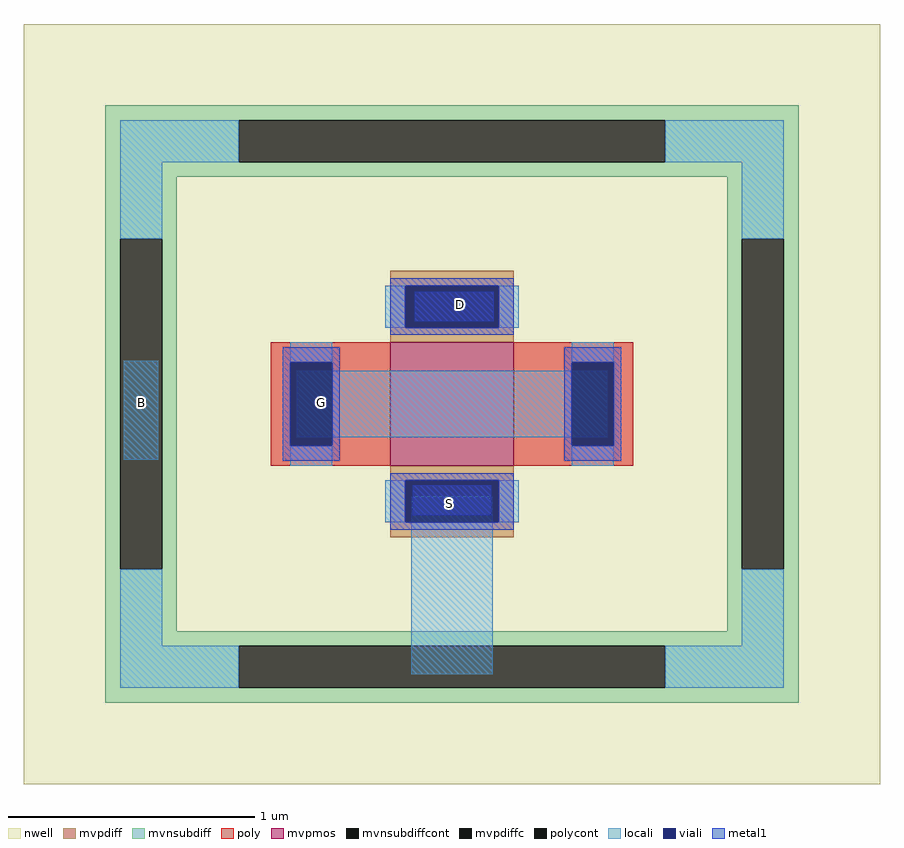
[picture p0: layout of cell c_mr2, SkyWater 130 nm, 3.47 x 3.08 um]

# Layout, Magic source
magic
tech sky130A
magscale 1 2
<< locali >>
rect 12 174 40 254
rect 152 192 404 246
rect 245 0 311 144
<< metal1 >>
rect 248 286 312 310
rect 246 129 310 153
use sky130_fd_pr__pfet_g5v0d10v5_KPT4GH  sky130_fd_pr__pfet_g5v0d10v5_KPT4GH_0
transform 0 1 278 -1 0 219
box -308 -347 308 347
<< labels >>
flabel metal1 278 298 292 302 0 FreeSans 800 0 0 0 D
port 0 nsew
flabel locali 172 220 172 220 0 FreeSans 800 0 0 0 G
port 1 nsew
flabel metal1 276 138 276 138 0 FreeSans 800 0 0 0 S
port 2 nsew
flabel locali 26 220 26 220 0 FreeSans 800 0 0 0 B
port 3 nsew
<< end >>

# cell sky130_fd_pr__pfet_g5v0d10v5_KPT4GH: kit device sky130_fd_pr__pfet_g5v0d10v5, w 0.5 l 0.5 m 1 nf 1 diffcov 100 polycov 100 guard 1 glc 1 grc 1 gtc 1 gbc 1 tbcov 100 rlcov 100 topc 1 botc 1 poverlap 0 doverlap 1 lmin 0.50 wmin 0.42 class mosfet compatible {sky130_fd_pr__pfet_01v8 sky130_fd_pr__pfet_01v8_lvt sky130_fd_pr__pfet_01v8_hvt sky130_fd_pr__pfet_g5v0d10v5} full_metal 1 conn_gates 0 viasrc 100 viadrn 100 viagate 100 viagb 0 viagr 0 viagl 0 viagt 0 doports 1
